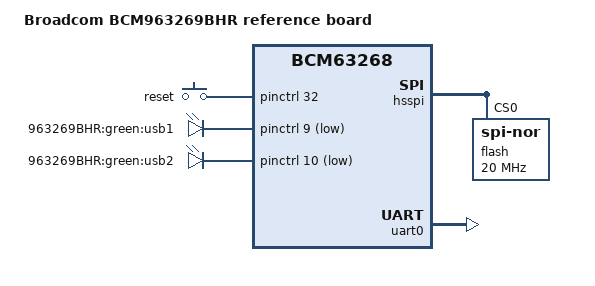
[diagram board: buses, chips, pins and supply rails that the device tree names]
/dts-v1/;

#include "bcm63268.dtsi"

#include <dt-bindings/input/input.h>

/ {
	model = "Broadcom BCM963269BHR reference board";
	compatible = "brcm,bcm963269bhr", "brcm,bcm63268";

	chosen {
		bootargs = "rootfstype=squashfs,jffs2 noinitrd console=ttyS0,115200";
		stdout-path = "serial0:115200n8";
	};

	gpio-keys-polled {
		compatible = "gpio-keys-polled";
		#address-cells = <1>;
		#size-cells = <0>;
		poll-interval = <20>;
		debounce-interval = <60>;

		reset {
			label = "reset";
			gpios = <&pinctrl 32 0>;
			linux,code = <KEY_RESTART>;
		};
	};

	gpio-leds {
		compatible = "gpio-leds";

		usb1 {
			label = "963269BHR:green:usb1";
			gpios = <&pinctrl 9 1>;
		};

		usb2 {
			label = "963269BHR:green:usb2";
			gpios = <&pinctrl 10 1>;
		};
	};
};

&hsspi {
	status = "ok";

	flash@0 {
		compatible = "jedec,spi-nor";
		spi-max-frequency = <20000000>;
		spi-tx-bus-width = <2>;
		spi-rx-bus-width = <2>;
		reg = <0>;

		#address-cells = <1>;
		#size-cells = <1>;

		partitions {
			compatible = "brcm,bcm963xx-cfe-nor-partitions";
		};
	};
};

&uart0 {
	status = "ok";
};
